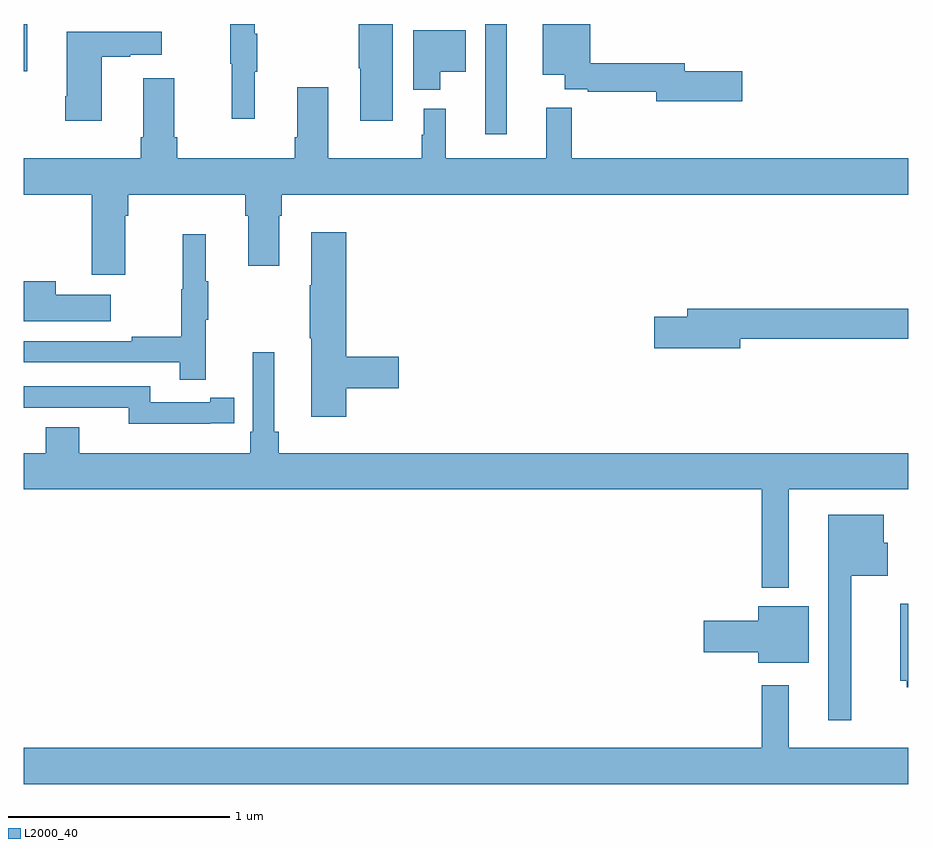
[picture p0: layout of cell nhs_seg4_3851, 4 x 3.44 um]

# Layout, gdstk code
import gdstk
lib = gdstk.Library(unit=1e-6, precision=1e-09)
def R(c, l, rs):  # rectangles x0, y0, x1, y1
    for r in rs: c.add(gdstk.rectangle(r[:2], r[2:], *l))
def P(c, l, *ps):  # polygons
    for p in ps: c.add(gdstk.Polygon(p, *l))
L2000_40 = (2000, 40)

nhs_seg4_3851 = lib.new_cell('nhs_seg4_3851')
R(nhs_seg4_3851, L2000_40, [(315.087,822.402,315.184,822.9), (313,822.687,313.016,822.9)])
P(nhs_seg4_3851, L2000_40, [(316.249,822.686),(315.988,822.686),(315.988,822.722),(315.562,822.722),(315.562,822.9),(315.347,822.9),(315.347,822.671),(315.446,822.671),(315.446,822.606),(315.55,822.606),(315.55,822.594),(315.86,822.594),(315.86,822.551),(316.249,822.551)],
  [(314.045,822.683),(314.056,822.683),(314.056,822.857),(314.045,822.857),(314.045,822.9),(313.935,822.9),(313.935,822.72),(313.942,822.72),(313.942,822.471),(314.045,822.471)],
  [(314.668,822.9),(314.515,822.9),(314.515,822.7),(314.522,822.7),(314.522,822.462),(314.668,822.462)],
  [(314.884,822.683),(314.998,822.683),(314.998,822.871),(314.762,822.871),(314.762,822.602),(314.884,822.602)],
  [(313.354,822.751),(313.481,822.751),(313.481,822.761),(313.624,822.761),(313.624,822.865),(313.196,822.865),(313.196,822.574),(313.189,822.574),(313.189,822.462),(313.354,822.462)],
  [(313.459,822.032),(313.472,822.032),(313.472,822.128),(314.003,822.128),(314.003,822.032),(314.015,822.032),(314.015,821.808),(314.155,821.808),(314.155,822.032),(314.168,822.032),(314.168,822.128),(317,822.128),(317,822.292),(315.479,822.292),(315.479,822.521),(315.362,822.521),(315.362,822.292),(314.909,822.292),(314.909,822.517),(314.81,822.517),(314.81,822.399),(314.799,822.399),(314.799,822.292),(314.377,822.292),(314.377,822.613),(314.237,822.613),(314.237,822.388),(314.225,822.388),(314.225,822.292),(313.694,822.292),(313.694,822.388),(313.681,822.388),(313.681,822.655),(313.541,822.655),(313.541,822.388),(313.529,822.388),(313.529,822.292),(313,822.292),(313,822.128),(313.307,822.128),(313.307,821.766),(313.459,821.766)],
  [(314.459,821.254),(314.695,821.254),(314.695,821.396),(314.459,821.396),(314.459,821.959),(314.3,821.959),(314.3,821.72),(314.293,821.72),(314.293,821.479),(314.3,821.479),(314.3,821.124),(314.459,821.124)],
  [(313.823,821.563),(313.834,821.563),(313.834,821.737),(313.823,821.737),(313.823,821.95),(313.72,821.95),(313.72,821.7),(313.713,821.7),(313.713,821.486),(313.489,821.486),(313.489,821.466),(313,821.466),(313,821.37),(313.705,821.37),(313.705,821.292),(313.823,821.292)],
  [(313.393,821.677),(313.145,821.677),(313.145,821.737),(313,821.737),(313,821.555),(313.393,821.555)],
  [(316.24,821.476),(317,821.476),(317,821.612),(316.001,821.612),(316.001,821.576),(315.852,821.576),(315.852,821.434),(316.24,821.434)],
  [(316.459,820.796),(317,820.796),(317,820.96),(314.153,820.96),(314.153,821.056),(314.134,821.056),(314.134,821.416),(314.037,821.416),(314.037,821.056),(314.024,821.056),(314.024,820.96),(313.252,820.96),(313.252,821.077),(313.1,821.077),(313.1,820.96),(313,820.96),(313,820.796),(316.338,820.796),(316.338,820.352),(316.459,820.352)],
  [(313.844,821.094),(313.952,821.094),(313.952,821.21),(313.844,821.21),(313.844,821.19),(313.572,821.19),(313.572,821.262),(313,821.262),(313,821.165),(313.016,821.165),(313.016,821.166),(313.476,821.166),(313.476,821.093),(313.844,821.093)],
  [(316.741,820.406),(316.906,820.406),(316.906,820.554),(316.888,820.554),(316.888,820.681),(316.637,820.681),(316.637,819.753),(316.741,819.753)],
  [(317,820.279),(316.964,820.279),(316.964,819.93),(316.992,819.93),(316.992,819.902),(317,819.902)],
  [(316.549,820.267),(316.322,820.267),(316.322,820.202),(316.074,820.202),(316.074,820.06),(316.322,820.06),(316.322,820.013),(316.549,820.013)],
  [(317,819.628),(316.459,819.628),(316.459,819.91),(316.338,819.91),(316.338,819.628),(313,819.628),(313,819.464),(317,819.464)])

lib.write_gds('nhs_seg4_3851.gds')
